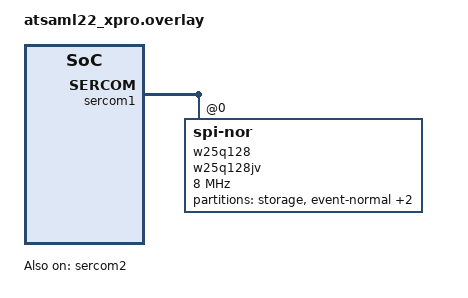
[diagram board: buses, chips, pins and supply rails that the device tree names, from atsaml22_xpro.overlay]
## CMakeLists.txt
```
cmake_minimum_required(VERSION 3.20.0)

#list(APPEND BOARD_ROOT $ENV{ZEPHYR_BASE}/../z9-zephyr)
set(z9-zephyr "${CMAKE_CURRENT_SOURCE_DIR}/../z9-zephyr")
list(APPEND EXTRA_ZEPHYR_MODULES ${z9-zephyr})
#list(APPEND BOARD_ROOT /Users/kent/Projects/z9-lock-zephyr/src/z9-zephyr/boards)
#list(APPEND BOARD_ROOT ${z9-zephyr})
#list(APPEND SOC_ROOT   "${z9-zephyr}/soc")
#list(APPEND DTS_ROOT   ${z9-zephyr})

find_package(Zephyr REQUIRED HINTS $ENV{ZEPHYR_BASE})
#set(ZEPHRY_MODULES modules/meta)
add_subdirectory_ifdef(CONFIG_ST25R3916_LIB st25r3916)

project(z9-lock)
include_directories(SYSTEM ../modules/meta/include)
include_directories(../z9-zephyr/ble)
#target_sources(app PRIVATE src/main.cc)
#target_sources(app PRIVATE src/button.c)
#target_sources(app PRIVATE src/main_st25r3916.c)

target_sources(app PRIVATE ../z9-zephyr/ble/z9_ble_driver.cc)
target_sources(app PRIVATE ../z9-zephyr/ble/z9lockio_ble.cc)
target_sources(app PRIVATE ../z9-zephyr/ble/Z9Lock_status.cc)
target_sources(app PRIVATE ../z9-zephyr/ble/Eros_protocol.cc)
target_sources(app PRIVATE ../z9-zephyr/ble/Z9Crypto_gcm.cc)
target_sources(app PRIVATE ../z9-zephyr/ble/Z9Crypto_gcm_KCB.cc)
#target_sources(app PRIVATE ../z9-zephyr/ble/EventDb.cc)
target_sources(app PRIVATE ../z9-zephyr/ble/Settings.cc)
target_sources(app PRIVATE ../z9-zephyr/ble/KernelBuffer.c)
target_sources(app PRIVATE ../z9-zephyr/ble/KernelCharacterBuffer.c)
#target_sources(app PRIVATE ../z9-zephyr/ble/Z9LockIO_protocol.cc)
#target_sources(app PRIVATE ../z9-zephyr/ble/Z9LockIO_bundleHeader.cc)
#target_sources(app PRIVATE ../z9-zephyr/ble/Z9LockIO_opaqueContent.cc)
#target_sources(app PRIVATE ../z9-zephyr/ble/Z9LockIO_eventControl.cc)
#target_sources(app PRIVATE ../z9-zephyr/ble/Z9LockIO_keyExchange.cc)
#target_sources(app PRIVATE ../z9-zephyr/ble/Z9LockIO_accessReq.cc)
#target_sources(app PRIVATE ../z9-zephyr/ble/Z9LockIO_dbChange.cc)
#target_sources(app PRIVATE ../z9-zephyr/ble/Z9LockIO_credAuthorization.cc)
target_sources(app PRIVATE ../z9-zephyr/ble/Z9LockIO_ECDH.cc)


#target_sources(app PRIVATE ../z9-zephyr/ble/DbStore.cc)
target_sources(app PRIVATE ../z9-zephyr/ble/Z9IO_Device.c)
#target_sources(app PRIVATE ../z9-zephyr/ble/Z9IO_Link_Controller.cc)
target_sources(app PRIVATE ../z9-zephyr/ble/Z9IO_Link_Remote.cc)
target_sources(app PRIVATE ../z9-zephyr/ble/ModelInfo.cc)
target_sources(app PRIVATE ../z9-zephyr/ble/Z9IO_Logic.cc)
target_sources(app PRIVATE ../z9-zephyr/ble/Crc16.c)
```

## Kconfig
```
menu "Z9Lock"

config Z9_READER
    bool "Enable Reader"
    default n

config Z9_CONTROLLER
    bool "Enable Controller"
    default n

config ST25R3916_LIB
    bool "Enable 3911 Library"
    default n

#rsource "st25r3916/Kconfig"


endmenu

menu "Z9 Crypto"

config Z9_GCM_C
    bool "Enable Software GCM"
    default n
#rsource "aes-gcm/Kconfig"

endmenu
menu "Zephyr Kernel"
source "Kconfig.zephyr"
endmenu
```

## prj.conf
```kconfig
CONFIG_CPP=y
CONFIG_STD_CPP20=y
CONFIG_LIB_CPLUSPLUS=y
CONFIG_REQUIRES_FULL_LIBCPP=y
CONFIG_EXCEPTIONS=y

CONFIG_KERNEL_BIN_NAME="z9-reader"

#CONFIG_COMPILER_SAVE_TEMPS=y
#CONFIG_COMPILER_OPT=""

CONFIG_Z9_READER=y
CONFIG_Z9_CONTROLLER=n

#CONFIG_SPI=y
#CONFIG_ST25R3916_LIB=y
#CONFIG_NFC_NDEF=y
#CONFIG_NFC_NDEF_RECORD=y
#CONFIG_NFC_NDEF_MSG=y
#CONFIG_NFC_NDEF_PARSER=y
#CONFIG_NFC_NDEF_LE_OOB_REC_PARSER=y
#CONFIG_NFC_T2T_PARSER=y
#CONFIG_NFC_T4T_HL_PROCEDURE=y
#CONFIG_NFC_NDEF_CH_PARSER=y

#CONFIG_POLL=y

CONFIG_SERIAL=y
CONFIG_UART_INTERRUPT_DRIVEN=y

#CONFIG_BOOTLOADER_MCUBOOT=y
#CONFIG_NCS_SAMPLE_MCUMGR_BT_OTA_DFU=y


# configs from ECDH
# The Zephyr CMSIS emulation assumes that ticks are ms, currently
CONFIG_SYS_CLOCK_TICKS_PER_SEC=1000

#CONFIG_MAIN_STACK_SIZE=4096
#CONFIG_HEAP_MEM_POOL_SIZE=4096

CONFIG_MAIN_STACK_SIZE=8192
CONFIG_HEAP_MEM_POOL_SIZE=8192

# enable below for Zephyr BLE controller
#CONFIG_BT_LL_SW_SPLIT=y
CONFIG_BT=y
CONFIG_BT_PERIPHERAL=y
CONFIG_BT_SMP=y
CONFIG_BT_GATT_CLIENT=y
CONFIG_BT_USER_PHY_UPDATE=y
CONFIG_BT_GATT_CLIENT=y
CONFIG_BT_USER_DATA_LEN_UPDATE=y
CONFIG_BT_CTLR_DATA_LENGTH_MAX=251
CONFIG_BT_BUF_ACL_RX_SIZE=251
CONFIG_BT_BUF_ACL_TX_SIZE=251
CONFIG_BT_L2CAP_TX_MTU=420
#CONFIG_BT_HCI_ACL_FLOW_CONTROL=y

CONFIG_HWINFO=y
#CONFIG_NCS_SAMPLES_DEFAULTS=y

CONFIG_LOG=n
CONFIG_CONSOLE=n 
CONFIG_LOG_BUFFER_SIZE=8192
CONFIG_LOG_BLOCK_IN_THREAD=y

# enable NVS
CONFIG_FLASH=y
CONFIG_FLASH_PAGE_LAYOUT=y
CONFIG_FCB_ALLOW_FIXED_ENDMARKER=y
CONFIG_FLASH_MAP=y
#CONFIG_FCB=y
#CONFIG_NVS=y
#CONFIG_NVS_LOG_LEVEL_DBG=y
CONFIG_MPU_ALLOW_FLASH_WRITE=y
CONFIG_SETTINGS=y

# Enable MBEDTLS (for Zephyr, not NFC)

# Enable nordic security backend and PSA APIs
CONFIG_ENTROPY_GENERATOR=y
CONFIG_PSA_CRYPTO_DRIVER_CC3XX=y
CONFIG_NRF_SECURITY=y
CONFIG_MBEDTLS_PSA_CRYPTO_C=y

CONFIG_MBEDTLS_ENABLE_HEAP=y
CONFIG_MBEDTLS_HEAP_SIZE=8192

## configure PSA
CONFIG_PSA_WANT_KEY_TYPE_ECC_KEY_PAIR=y
CONFIG_PSA_WANT_ECC_SECP_R1_256=y
CONFIG_PSA_WANT_ALG_ECDH=y
CONFIG_PSA_WANT_ALG_SHA_256=y
CONFIG_PSA_WANT_KEY_TYPE_AES=y
CONFIG_PSA_WANT_AES_KEY_SIZE_128=y
CONFIG_PSA_WANT_ALG_GCM=y

# For key generation

# Enable the LBS service
#CONFIG_BT_LBS=y
#CONFIG_BT_LBS_POLL_BUTTON=y
#CONFIG_DK_LIBRARY=y

CONFIG_SYSTEM_WORKQUEUE_STACK_SIZE=8192
```

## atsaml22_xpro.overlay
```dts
// You can also use the buttons in the sidebar to perform actions on nodes.
// Actions currently available include:

// * Enabling / disabling the node
// * Adding the bus to a bus
// * Removing the node
// * Connecting ADC channels


// /delete-node/ &slot1_partition;

&sercom1 {
	w25q128: w25q128jv@0 {
			compatible = "jedec,spi-nor";
			reg = <0>;
			spi-max-frequency = <8000000>;
			jedec-id = [17 70 18];
/* 			sfdp-bfp = [e5 20 f1 ff ff ff ff 03 44 eb 08 6b
						08 3b 04 bb ee ff ff ff ff ff 00 ff
						ff ff 00 ff 0c 20 0f 52 10 d8 00 ff
						23 72 f5 00 82 ed 04 cc 44 83 68 44
						30 b0 30 b0 f7 c4 d5 5c 00 be 29 ff
						f0 d0 ff ff];
*/
			size = <134217728>;
			has-dpd;
			t-enter-dpd = <10000>;
			t-exit-dpd = <35000>;
	};
};

&w25q128 {

	partitions {
		compatible = "fixed-partitions";
		#address-cells = <1>;
		#size-cells = <1>;

        storage_partition: partition@20000 {
                label = "storage";
                reg = <0x00020000 0x00008000>;
        };
		event_normal_partition: partition@28000 {
			label = "event-normal";
			reg = <0x00028000 0x0008000>;
		};
		event_priority_partition: partition@30000 {
			label = "event-priority";
			reg = <0x00030000 0x0008000>;
		};
		credentials: partition@38000 {
			label = "credentials";
			reg = <0x00038000 0x0008000>;
		};
    };
};


// set UART1 to standard Arduino PINs
/ {
aliases { z9io-serial = &sercom2; };
};

&sercom2 {
    current-speed = <9600>;
    status = "okay";
};

/* 
&uart1_default {
group1 {
   psels = <NRF_PSEL(UART_RX, 1, 2)>;
   bias-pull-up;
};
group2 {
   psels = <NRF_PSEL(UART_TX , 1, 1)>,
		   <NRF_PSEL(UART_RTS, 1, 3)>;
};
};

&uart1_sleep {
group1 {
   psels = <NRF_PSEL(UART_RX , 1, 2)>,
		   <NRF_PSEL(UART_TX , 1, 1)>,
		   <NRF_PSEL(UART_RTS, 1, 3)>;
   low-power-enable;
};
};
*/
```

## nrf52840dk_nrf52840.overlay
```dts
// To get started, press Ctrl+Space (or Option+Esc) to bring up the completion menu and view the available nodes.

// You can also use the buttons in the sidebar to perform actions on nodes.
// Actions currently available include:

// * Enabling / disabling the node
// * Adding the bus to a bus
// * Removing the node
// * Connecting ADC channels

// For more help, browse the DeviceTree documentation at https://docs.zephyrproject.org/latest/guides/dts/index.html
// You can also visit the nRF DeviceTree extension documentation at https://nrfconnect.github.io/vscode-nrf-connect/devicetree/nrfdevicetree.html

/****
/delete-node/ &slot1_partition;
&flash0 {

	partitions {
		compatible = "fixed-partitions";
		#address-cells = <1>;
		#size-cells = <1>;

		event_normal_partition: partition@82000 {
			label = "event-normal";
			reg = <0x00082000 0x00010000>;
		};
		event_priority_partition: partition@92000 {
			label = "event-priority";
			reg = <0x00092000 0x00010000>;
		};
		credentials: partition@a2000 {
			label = "credentials";
			reg = <0x000a2000 0x00056000>;
		};
    };
};
*****/

// set UART1 to standard Arduino PINs
/ {
	aliases { z9io-serial = &arduino_serial; };
};

&uart1 {
	current-speed = <9600>;
	status = "okay";
};

&uart1_default {
	group1 {
	psels = <NRF_PSEL(UART_RX, 1, 2)>;
	bias-pull-up;
	};
	group2 {
	psels = <NRF_PSEL(UART_TX , 1, 1)>,
			<NRF_PSEL(UART_RTS, 1, 3)>;
	};
};

&uart1_sleep {
	group1 {
	psels = <NRF_PSEL(UART_RX , 1, 2)>,
			<NRF_PSEL(UART_TX , 1, 1)>,
			<NRF_PSEL(UART_RTS, 1, 3)>;
	low-power-enable;
	};
};
```

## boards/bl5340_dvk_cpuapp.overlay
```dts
// To get started, press Ctrl+Space (or Option+Esc) to bring up the completion menu and view the available nodes.

// You can also use the buttons in the sidebar to perform actions on nodes.
// Actions currently available include:

// * Enabling / disabling the node
// * Adding the bus to a bus
// * Removing the node
// * Connecting ADC channels

// For more help, browse the DeviceTree documentation at https://docs.zephyrproject.org/latest/guides/dts/index.html
// You can also visit the nRF DeviceTree extension documentation at https://nrfconnect.github.io/vscode-nrf-connect/devicetree/nrfdevicetree.html
/ { 
    aliases { z9io-serial = &uart3; };
};

&spi3 { status = "disabled"; };
&spi2 { status = "disabled"; };

&uart3 {
    current-speed = <9600>;
    status = "okay";
	pinctrl-0 = <&uart3_default>;
	pinctrl-1 = <&uart3_sleep>;
	pinctrl-names = "default", "sleep";
};

&pinctrl {

    uart3_default: uart3_default {
        group1 {
            psels = <NRF_PSEL(UART_TX, 1, 7)>;
        };

        group2 {
            psels = <NRF_PSEL(UART_RX, 0, 25)>;
        };
    };

    uart3_sleep: uart3_sleep {
        group1 {
            psels = <NRF_PSEL(UART_TX, 1, 7)>, <NRF_PSEL(UART_RX, 0, 25)>;
        };
    };
};
&spi2 {
    /delete-property/ cs-gpios;
};

&i2c1_default {
    group1 {
        psels = <NRF_PSEL(TWIM_SCL, 1, 3)>;
    };
};

&spi2_default {
    group1 {
        psels = <NRF_PSEL(SPIM_MISO, 0, 26)>, <NRF_PSEL(SPIM_MOSI, 0, 27)>;
    };
};

&spi2_sleep {
    group1 {
        psels = <NRF_PSEL(SPIM_MISO, 0, 26)>, <NRF_PSEL(SPIM_MOSI, 0, 27)>;
    };
};

&spi2_sleep {
    group1 {
        psels = <NRF_PSEL(SPIM_MISO, 0, 26)>;
    };
};

&spi2_default {
    group1 {
        psels = <NRF_PSEL(SPIM_MISO, 0, 26)>;
    };
};
```

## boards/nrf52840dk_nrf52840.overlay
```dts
// To get started, press Ctrl+Space (or Option+Esc) to bring up the completion menu and view the available nodes.

// You can also use the buttons in the sidebar to perform actions on nodes.
// Actions currently available include:

// * Enabling / disabling the node
// * Adding the bus to a bus
// * Removing the node
// * Connecting ADC channels

// For more help, browse the DeviceTree documentation at https://docs.zephyrproject.org/latest/guides/dts/index.html
// You can also visit the nRF DeviceTree extension documentation at https://nrfconnect.github.io/vscode-nrf-connect/devicetree/nrfdevicetree.html

/****
/delete-node/ &slot1_partition;
&flash0 {

	partitions {
		compatible = "fixed-partitions";
		#address-cells = <1>;
		#size-cells = <1>;

		event_normal_partition: partition@82000 {
			label = "event-normal";
			reg = <0x00082000 0x00010000>;
		};
		event_priority_partition: partition@92000 {
			label = "event-priority";
			reg = <0x00092000 0x00010000>;
		};
		credentials: partition@a2000 {
			label = "credentials";
			reg = <0x000a2000 0x00056000>;
		};
    };
};
*****/

// set UART1 to standard Arduino PINs
/ {
	aliases { z9io-serial = &arduino_serial; };
};

&uart1 {
	current-speed = <9600>;
	status = "okay";
};

&uart1_default {
	group1 {
	psels = <NRF_PSEL(UART_RX, 1, 2)>;
	bias-pull-up;
	};
	group2 {
	psels = <NRF_PSEL(UART_TX , 1, 1)>,
			<NRF_PSEL(UART_RTS, 1, 3)>;
	};
};

&uart1_sleep {
	group1 {
	psels = <NRF_PSEL(UART_RX , 1, 2)>,
			<NRF_PSEL(UART_TX , 1, 1)>,
			<NRF_PSEL(UART_RTS, 1, 3)>;
	low-power-enable;
	};
};

&spi0 {
	compatible = "nordic,nrf-spi";
	status = "okay";
	cs-gpios = <&gpio1 12 GPIO_ACTIVE_LOW>;

	pinctrl-0 = <&spi0_default_alt>;
	pinctrl-1 = <&spi0_sleep_alt>;
	pinctrl-names = "default", "sleep";
	st25r3911b@0 {
		compatible = "st,st25r3911b";
		reg = <0>;
		spi-max-frequency = <4000000>;
		irq-gpios = <&gpio0 3 GPIO_ACTIVE_HIGH>;
		led-nfca-gpios = <&gpio0 29 GPIO_ACTIVE_HIGH>;
	};
};

/* 
&spi1 {
	status = "disabled";
};

&spi2 {
	status = "disabled";
};

&spi3 {
	status = "disabled";
};
*/

&pinctrl {
	spi0_default_alt: spi0_default_alt {
		group1 {
			psels = <NRF_PSEL(SPIM_SCK, 1, 15)>,
				<NRF_PSEL(SPIM_MOSI, 1, 13)>,
				<NRF_PSEL(SPIM_MISO, 1, 14)>;
		};
	};

	spi0_sleep_alt: spi0_sleep_alt {
		group1 {
			psels = <NRF_PSEL(SPIM_SCK, 1, 15)>,
				<NRF_PSEL(SPIM_MOSI, 1, 13)>,
				<NRF_PSEL(SPIM_MISO, 1, 14)>;
			low-power-enable;
		};
	};
};
```

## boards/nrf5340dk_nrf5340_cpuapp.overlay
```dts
// To get started, press Ctrl+Space (or Option+Esc) to bring up the completion menu and view the available nodes.

// You can also use the buttons in the sidebar to perform actions on nodes.
// Actions currently available include:

// * Enabling / disabling the node
// * Adding the bus to a bus
// * Removing the node
// * Connecting ADC channels

// For more help, browse the DeviceTree documentation at https://docs.zephyrproject.org/latest/guides/dts/index.html
// You can also visit the nRF DeviceTree extension documentation at https://nrfconnect.github.io/vscode-nrf-connect/devicetree/nrfdevicetree.html
// set UART1 to standard Arduino PINs
/ {
aliases { z9io-serial = &uart1; };
};

&uart1 {
    current-speed = <9600>;
    status = "okay";
};

&i2c1 { status = "disabled"; };

	&uart1_default {
		group1 {
			psels = <NRF_PSEL(UART_RX, 0, 5)>;
			bias-pull-up;
		};
		group2 {
			psels = <NRF_PSEL(UART_TX , 0, 4)>,
					<NRF_PSEL(UART_RTS, 0, 6)>;
		};
};

&uart1_sleep {
	group1 {
	psels = <NRF_PSEL(UART_RX , 0, 5)>,
			<NRF_PSEL(UART_TX , 0, 4)>,
			<NRF_PSEL(UART_RTS, 0, 6)>;
	low-power-enable;
	};
};
```

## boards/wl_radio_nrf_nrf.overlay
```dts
// To get started, press Ctrl+Space (or Option+Esc) to bring up the completion menu and view the available nodes.

// You can also use the buttons in the sidebar to perform actions on nodes.
// Actions currently available include:

// * Enabling / disabling the node
// * Adding the bus to a bus
// * Removing the node
// * Connecting ADC channels

// For more help, browse the DeviceTree documentation at https://docs.zephyrproject.org/latest/guides/dts/index.html
// You can also visit the nRF DeviceTree extension documentation at https://nrfconnect.github.io/vscode-nrf-connect/devicetree/nrfdevicetree.html
/ { 
    aliases { z9io-serial = &uart1; };
};

//&i2c1 { status = "disabled"; };

&uart1 {
    current-speed = <9600>;
    status = "okay";
	pinctrl-0 = <&uart1_default>;
	pinctrl-1 = <&uart1_sleep>;
	pinctrl-names = "default", "sleep";
};

&pinctrl {

    uart1_default: uart1_default {
        group1 {
            psels = <NRF_PSEL(UART_TX, 1, 7)>;
        };

        group2 {
            psels = <NRF_PSEL(UART_RX, 0, 25)>;
        };
    };

    uart1_sleep: uart1_sleep {
        group1 {
            psels = <NRF_PSEL(UART_TX, 1, 7)>, <NRF_PSEL(UART_RX, 0, 25)>;
        };
    };
};
&uart1 {
    status = "okay";
};
```

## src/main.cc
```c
#include "button.h"
#include "Z9Lock_status.h"
#include "EventDb.h"
#include "Settings.h"

#ifdef CONFIG_Z9_READER
#include "z9lockio_ble.h"
#endif

#include <zephyr/kernel.h>
#include <zephyr/logging/log.h>

#include <zephyr/sys/printk.h>
#include <zephyr/drivers/gpio.h>


LOG_MODULE_REGISTER(z9_ble, LOG_LEVEL_INF);
#define RUN_LED_BLINK_INTERVAL 1000

#define GREEN_LED_NODE  DT_ALIAS(led0)
//#define RED_LED_NODE    DT_ALIAS(led1)
#define RED_LED_NODE    DT_ALIAS(led0)
static const gpio_dt_spec green_led = GPIO_DT_SPEC_GET(GREEN_LED_NODE, gpios);
static const gpio_dt_spec red_led   = GPIO_DT_SPEC_GET(RED_LED_NODE  , gpios);

static void set_green_led(bool led)
{
        gpio_pin_set_dt(&green_led, led);
}
static void set_red_led(bool led)
{
        gpio_pin_set_dt(&red_led, led);
}
static int init_leds()
{
        int err;
        err = gpio_is_ready_dt(&green_led);
        if (err < 0) return err;
     	err = gpio_pin_configure_dt(&green_led, GPIO_OUTPUT_ACTIVE);
        if (err < 0) return err;
        err = gpio_is_ready_dt(&red_led);
        if (err < 0) return err;
     	err = gpio_pin_configure_dt(&red_led, GPIO_OUTPUT_ACTIVE);
        if (err < 0) return err;
        set_green_led(0);
        set_red_led(0);
        return 0;
}

static void pairing_expired(struct k_work *work)
{
        printk("%s: expired\n", __func__);
        z9lock_status.set_mode(LockStatusMode::CONSTRUCTION);
}

static void perform_reset(struct k_work *work)
{
        printk("%s: expired\n", __func__);
        nvm_settings_reset();           // clear flash
        //__NVIC_SystemReset();
        abort();
}

K_WORK_DELAYABLE_DEFINE(pairing_timer, pairing_expired);
K_WORK_DELAYABLE_DEFINE(reset_timer  , perform_reset);

bool privacy_state;
static void button_changed(button_evt evt)
{
        auto&& lock = z9lock_status;
                
        bool is_pressed = evt == BUTTON_EVT_PRESSED;
        printk("red: is_pressed: %d\n", is_pressed);

        if (is_pressed)
                k_work_schedule(&reset_timer, K_SECONDS(10));
        else 
        {
                k_work_cancel_delayable(&reset_timer);

                // if in paired, then it's the priv button
                if (lock.mode == LockStatusMode::NORMAL)
                {
                        privacy_state ^= 1; //bool(button_state & RED_BUTTON);
                        set_red_led(privacy_state);
                }
                else
                {
                        k_work_schedule(&pairing_timer, K_SECONDS(30));
                        lock.set_mode(LockStatusMode::PAIRING);
                }
        }

        auto lock_mode = static_cast<uint8_t>(lock.mode);
        printk("%s: MODE=%d, PRIV=%d\n", __func__, lock_mode, privacy_state);
}


int main()
{
        int err;

        printk("Starting Z9Lock BLE Test Fixture\n");
        psa_crypto_init();              // XXX
 

#ifdef CONFIG_Z9_READER 
        // start the Z9 BLE stack
        printk("Initializing Bluetooth\n");
        z9lock_ble_init();
#endif

#ifdef CONFIG_Z9_CONTROLLER
        // LEDs & buttons on READER
        err = init_leds();
        if (err) {
                printk("LEDs init failed (err %d)\n", err);
                return err;
        }

        err = button_init(button_changed);
        if (err) {
                printk("Button init failed (err %d)\n", err);
                //return err;
        }
        
        nvm_settings_init();           // read settings: retrive keys & set mode

        // startup complete -- generate an event
        LockEventDb::instance().save(EVT(LockEvtCode_STARTUP));

        // if in construction or pairing mode, blink LED 
        uint8_t blink_status = 0;
        for (;;)
        {
                auto&& lock = z9lock_status;

                auto led = false;
                ++blink_status;
                switch (lock.mode)
                {
                        case LockStatusMode::PAIRING:
                                blink_status %= 5;
                                // FALLSTHRU
                        case LockStatusMode::CONSTRUCTION:
                                led = blink_status & 1;
                                set_green_led(led);
                                break;
                        default:
                                set_green_led(0);
                                return 0;
                }

                k_sleep(K_MSEC(RUN_LED_BLINK_INTERVAL/2));
        }
 #endif       
        // NOTREACHED
}
```

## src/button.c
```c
// zephyr example: https://www.zephyrproject.org/how-to-debounce-button-inputs-in-a-rtos/
// retreived from https://github.com/ubieda/zephyr_button_debouncing.git
#include <zephyr/kernel.h>
#include <zephyr/drivers/gpio.h>
#include "button.h"

#define SW0_NODE	DT_ALIAS(sw0)

static const struct gpio_dt_spec button = GPIO_DT_SPEC_GET(SW0_NODE, gpios);
static struct gpio_callback button_cb_data;

static button_event_handler_t user_cb;

static void cooldown_expired(struct k_work *work)
{
    ARG_UNUSED(work);

    int val = gpio_pin_get_dt(&button);
    enum button_evt evt = val ? BUTTON_EVT_PRESSED : BUTTON_EVT_RELEASED;
    if (user_cb) {
        user_cb(evt);
    }
}

static K_WORK_DELAYABLE_DEFINE(cooldown_work, cooldown_expired);

void button_pressed(const struct device *dev, struct gpio_callback *cb,
		    uint32_t pins)
{
    k_work_reschedule(&cooldown_work, K_MSEC(15));
}

int button_init(button_event_handler_t handler)
{
    int err = -1;

    if (!handler) {
        return -EINVAL;
    }

    user_cb = handler;

	if (!device_is_ready(button.port)) {
		return -EIO;
	}

	err = gpio_pin_configure_dt(&button, GPIO_INPUT);
	if (err) {
        return err;
	}

	err = gpio_pin_interrupt_configure_dt(&button, GPIO_INT_EDGE_BOTH);
	if (err) {
		return err;
	}

	gpio_init_callback(&button_cb_data, button_pressed, BIT(button.pin));
	err = gpio_add_callback(button.port, &button_cb_data);
    if (err) {
        return err;
    }

    return 0;
}
```
